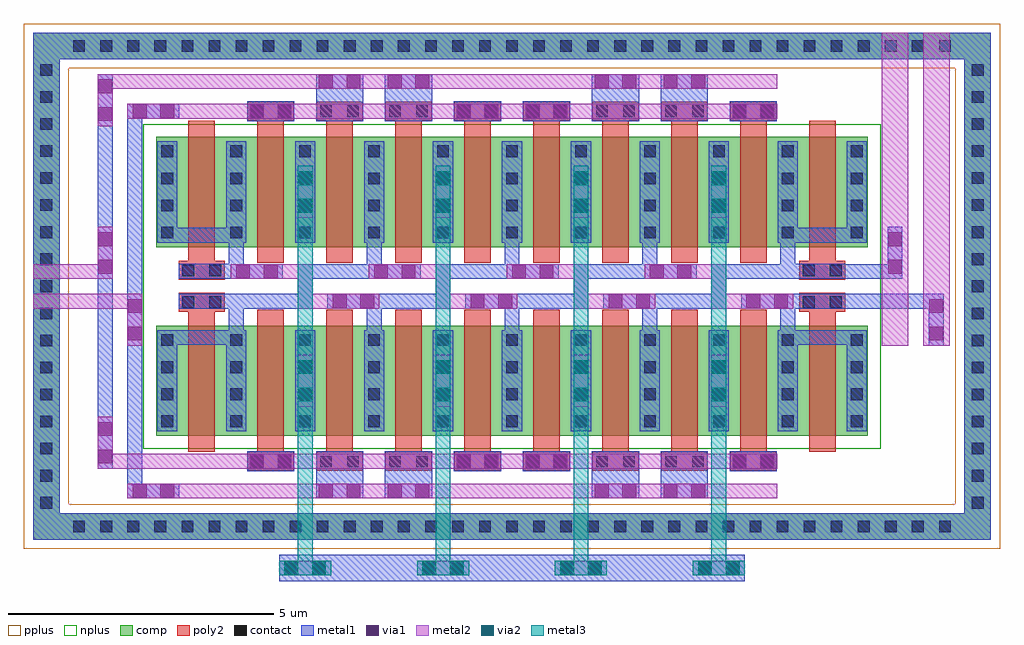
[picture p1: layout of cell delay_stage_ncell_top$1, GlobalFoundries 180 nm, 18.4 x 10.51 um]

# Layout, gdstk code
from math import pi, radians
import gdstk
lib = gdstk.Library(unit=1e-6, precision=5e-09)
def R(c, l, rs):  # rectangles x0, y0, x1, y1
    for r in rs: c.add(gdstk.rectangle(r[:2], r[2:], *l))
def A(c, l, x, y, w, h, nx, ny, dx, dy):  # array of equal rectangles
    R(c, l, [(x+i*dx, y+j*dy, x+i*dx+w, y+j*dy+h) for i in range(nx) for j in range(ny)])
comp = (22, 0)
poly2 = (30, 0)
pplus = (31, 0)
nplus = (32, 0)
contact = (33, 0)
metal1 = (34, 0)
via1 = (35, 0)
metal2 = (36, 0)
via2 = (38, 0)
metal3 = (42, 0)

m1_m3_1 = lib.new_cell('M1_M3$1')
R(m1_m3_1, via1, [(0.1,0.01,0.36,0.27), (0.1,0.01,0.36,0.27), (0.62,0.01,0.88,0.27), (0.62,0.01,0.88,0.27)])
R(m1_m3_1, via2, [(0.1,0.01,0.36,0.27), (0.1,0.01,0.36,0.27), (0.62,0.01,0.88,0.27), (0.62,0.01,0.88,0.27)])
m1_m3_1.add(gdstk.FlexPath([(0,0.14),(0.98,0.14)], 0.28, ends="flush", simple_path=True, layer=34, datatype=0))  # metal1
m1_m3_1.add(gdstk.FlexPath([(0,0.14),(0.98,0.14)], 0.28, ends="flush", simple_path=True, layer=34, datatype=0))  # metal1
m1_m3_1.add(gdstk.FlexPath([(0,0.14),(0.98,0.14)], 0.28, ends="flush", simple_path=True, layer=36, datatype=0))  # metal2
m1_m3_1.add(gdstk.FlexPath([(0,0.14),(0.98,0.14)], 0.28, ends="flush", simple_path=True, layer=42, datatype=0))  # metal3

m1_m2_2_1 = lib.new_cell('M1_M2$2$1')
R(m1_m2_2_1, via1, [(0.1,0.01,0.36,0.27), (0.62,0.01,0.88,0.27)])
m1_m2_2_1.add(gdstk.FlexPath([(0,0.14),(0.98,0.14)], 0.28, ends="flush", simple_path=True, layer=34, datatype=0))  # metal1
m1_m2_2_1.add(gdstk.FlexPath([(0,0.14),(0.98,0.14)], 0.28, ends="flush", simple_path=True, layer=36, datatype=0))  # metal2

delay_stage_ncell_1_1_2_ = lib.new_cell('delay_stage_ncell_1$1$2$1$1')
R(delay_stage_ncell_1_1_2_, comp, [(0,0.3,0.42,2.38), (0.42,0.3,1.3,2.38), (1.3,0.3,1.72,2.38)])
R(delay_stage_ncell_1_1_2_, poly2, [(0.61,0,1.11,2.68)])
A(delay_stage_ncell_1_1_2_, contact, 0.1, 0.465, 0.22, 0.22, 1, 4, 0, 0.51)
A(delay_stage_ncell_1_1_2_, contact, 1.4, 0.465, 0.22, 0.22, 1, 4, 0, 0.51)
R(delay_stage_ncell_1_1_2_, metal1, [(0.02,0.385,0.4,2.295), (1.32,0.385,1.7,2.295)])

delay_stage_ncell_4_1_1_ = lib.new_cell('delay_stage_ncell_4$1$1$1')
A(delay_stage_ncell_4_1_1_, poly2, 0.425, 2.675, 0.87, 0.36, 4, 1, 1.3, 0)
R(delay_stage_ncell_4_1_1_, contact, [(0.495,2.745,0.715,2.965), (1.005,2.745,1.225,2.965), (1.795,2.745,2.015,2.965), (2.305,2.745,2.525,2.965), (3.095,2.745,3.315,2.965), (3.605,2.745,3.825,2.965), (4.395,2.745,4.615,2.965), (4.905,2.745,5.125,2.965)])
A(delay_stage_ncell_4_1_1_, metal1, 0.415, 2.665, 0.89, 0.38, 4, 1, 1.3, 0)
delay_stage_ncell_4_1_1_.add(gdstk.Reference(delay_stage_ncell_1_1_2_, (0,-0.005)))
delay_stage_ncell_4_1_1_.add(gdstk.Reference(delay_stage_ncell_1_1_2_, (1.3,-0.005)))
delay_stage_ncell_4_1_1_.add(gdstk.Reference(delay_stage_ncell_1_1_2_, (2.6,-0.005)))
delay_stage_ncell_4_1_1_.add(gdstk.Reference(delay_stage_ncell_1_1_2_, (3.9,-0.005)))

delay_stage_ncell_4_2_1_ = lib.new_cell('delay_stage_ncell_4_2$1$1')
R(delay_stage_ncell_4_2_1_, metal1, [(1.715,0,2.605,0.51), (3.015,0,3.905,0.51), (1.715,7.49,2.605,8), (3.015,7.49,3.905,8)])
R(delay_stage_ncell_4_2_1_, via1, [(1.77,0.01,2.03,0.27), (2.29,0.01,2.55,0.27), (3.07,0.01,3.33,0.27), (3.59,0.01,3.85,0.27), (0.47,0.57,0.73,0.83), (0.99,0.57,1.25,0.83), (4.37,0.57,4.63,0.83), (4.89,0.57,5.15,0.83), (1.38,1.83,1.64,2.09), (3.98,1.83,4.24,2.09), (1.38,2.35,1.64,2.61), (3.98,2.35,4.24,2.61), (2.03,3.59,2.29,3.85), (2.55,3.59,2.81,3.85), (4.63,3.59,4.89,3.85), (5.15,3.59,5.41,3.85), (0.21,4.15,0.47,4.41), (0.73,4.15,0.99,4.41), (2.81,4.15,3.07,4.41), (3.33,4.15,3.59,4.41), (1.38,5.39,1.64,5.65), (3.98,5.39,4.24,5.65), (1.38,5.91,1.64,6.17), (3.98,5.91,4.24,6.17), (0.47,7.17,0.73,7.43), (0.99,7.17,1.25,7.43), (4.37,7.17,4.63,7.43), (4.89,7.17,5.15,7.43), (1.77,7.73,2.03,7.99), (2.29,7.73,2.55,7.99), (3.07,7.73,3.33,7.99), (3.59,7.73,3.85,7.99)])
R(delay_stage_ncell_4_2_1_, via2, [(1.38,1.83,1.64,2.09), (3.98,1.83,4.24,2.09), (1.38,2.35,1.64,2.61), (3.98,2.35,4.24,2.61), (1.38,5.39,1.64,5.65), (3.98,5.39,4.24,5.65), (1.38,5.91,1.64,6.17), (3.98,5.91,4.24,6.17)])
delay_stage_ncell_4_2_1_.add(gdstk.FlexPath([(2.81,4.825),(2.81,4.42)], 0.28, ends="flush", simple_path=True, layer=34, datatype=0))  # metal1
delay_stage_ncell_4_2_1_.add(gdstk.FlexPath([(2.81,3.175),(2.81,3.58)], 0.28, ends="flush", simple_path=True, layer=34, datatype=0))  # metal1
delay_stage_ncell_4_2_1_.add(gdstk.FlexPath([(0.21,3.175),(0.21,3.58)], 0.28, ends="flush", simple_path=True, layer=34, datatype=0))  # metal1
delay_stage_ncell_4_2_1_.add(gdstk.FlexPath([(0.21,4.825),(0.21,4.42)], 0.28, ends="flush", simple_path=True, layer=34, datatype=0))  # metal1
delay_stage_ncell_4_2_1_.add(gdstk.FlexPath([(2.91,4.28),(1.51,4.28),(1.51,3.72),(0.07,3.72)], 0.28, ends="flush", simple_path=True, layer=34, datatype=0))  # metal1
delay_stage_ncell_4_2_1_.add(gdstk.FlexPath([(1.09,4.28),(0.07,4.28)], 0.28, ends="flush", simple_path=True, layer=34, datatype=0))  # metal1
delay_stage_ncell_4_2_1_.add(gdstk.FlexPath([(5.41,3.175),(5.41,3.58)], 0.28, ends="flush", simple_path=True, layer=34, datatype=0))  # metal1
delay_stage_ncell_4_2_1_.add(gdstk.FlexPath([(5.55,4.28),(4.11,4.28),(4.11,3.72),(2.71,3.72)], 0.28, ends="flush", simple_path=True, layer=34, datatype=0))  # metal1
delay_stage_ncell_4_2_1_.add(gdstk.FlexPath([(3.69,4.28),(2.71,4.28)], 0.28, ends="flush", simple_path=True, layer=34, datatype=0))  # metal1
delay_stage_ncell_4_2_1_.add(gdstk.FlexPath([(5.41,4.825),(5.41,4.42)], 0.28, ends="flush", simple_path=True, layer=34, datatype=0))  # metal1
delay_stage_ncell_4_2_1_.add(gdstk.FlexPath([(2.81,3.175),(2.81,3.58)], 0.28, ends="flush", simple_path=True, layer=34, datatype=0))  # metal1
delay_stage_ncell_4_2_1_.add(gdstk.FlexPath([(5.55,3.72),(4.53,3.72)], 0.28, ends="flush", simple_path=True, layer=34, datatype=0))  # metal1
delay_stage_ncell_4_2_1_.add(gdstk.FlexPath([(2.81,4.825),(2.81,4.42)], 0.28, ends="flush", simple_path=True, layer=34, datatype=0))  # metal1
delay_stage_ncell_4_2_1_.add(gdstk.FlexPath([(2.91,3.72),(1.93,3.72)], 0.28, ends="flush", simple_path=True, layer=34, datatype=0))  # metal1
delay_stage_ncell_4_2_1_.add(gdstk.FlexPath([(5.41,7.3),(0.405,7.3)], 0.28, ends="flush", simple_path=True, layer=36, datatype=0))  # metal2
delay_stage_ncell_4_2_1_.add(gdstk.FlexPath([(5.41,7.86),(0.405,7.86)], 0.28, ends="flush", simple_path=True, layer=36, datatype=0))  # metal2
delay_stage_ncell_4_2_1_.add(gdstk.FlexPath([(5.41,0.7),(0.405,0.7)], 0.28, ends="flush", simple_path=True, layer=36, datatype=0))  # metal2
delay_stage_ncell_4_2_1_.add(gdstk.FlexPath([(5.41,0.14),(0.405,0.14)], 0.28, ends="flush", simple_path=True, layer=36, datatype=0))  # metal2
delay_stage_ncell_4_2_1_.add(gdstk.FlexPath([(4.11,5.29),(4.11,6.27)], 0.28, ends="flush", simple_path=True, layer=36, datatype=0))  # metal2
delay_stage_ncell_4_2_1_.add(gdstk.FlexPath([(1.51,5.29),(1.51,6.27)], 0.28, ends="flush", simple_path=True, layer=36, datatype=0))  # metal2
delay_stage_ncell_4_2_1_.add(gdstk.FlexPath([(4.11,1.73),(4.11,2.71)], 0.28, ends="flush", simple_path=True, layer=36, datatype=0))  # metal2
delay_stage_ncell_4_2_1_.add(gdstk.FlexPath([(1.51,1.73),(1.51,2.71)], 0.28, ends="flush", simple_path=True, layer=36, datatype=0))  # metal2
delay_stage_ncell_4_2_1_.add(gdstk.FlexPath([(2.91,3.72),(1.51,3.72),(1.51,4.28),(0.11,4.28)], 0.28, ends="flush", simple_path=True, layer=36, datatype=0))  # metal2
delay_stage_ncell_4_2_1_.add(gdstk.FlexPath([(5.51,3.72),(4.11,3.72),(4.11,4.28),(2.71,4.28)], 0.28, ends="flush", simple_path=True, layer=36, datatype=0))  # metal2
delay_stage_ncell_4_2_1_.add(gdstk.FlexPath([(4.11,5.29),(4.11,6.27)], 0.28, ends="flush", simple_path=True, layer=42, datatype=0))  # metal3
delay_stage_ncell_4_2_1_.add(gdstk.FlexPath([(1.51,5.29),(1.51,6.27)], 0.28, ends="flush", simple_path=True, layer=42, datatype=0))  # metal3
delay_stage_ncell_4_2_1_.add(gdstk.FlexPath([(4.11,1.73),(4.11,2.71)], 0.28, ends="flush", simple_path=True, layer=42, datatype=0))  # metal3
delay_stage_ncell_4_2_1_.add(gdstk.FlexPath([(1.51,1.73),(1.51,2.71)], 0.28, ends="flush", simple_path=True, layer=42, datatype=0))  # metal3
delay_stage_ncell_4_2_1_.add(gdstk.Reference(delay_stage_ncell_4_1_1_, (0,4.445)))
delay_stage_ncell_4_2_1_.add(gdstk.Reference(delay_stage_ncell_4_1_1_, (0,3.555), x_reflection=True))

delay_stage_ncell_1_1_1_ = lib.new_cell('delay_stage_ncell_1$1$1$1$1')
R(delay_stage_ncell_1_1_1_, comp, [(0,0.3,0.42,2.38), (0.42,0.3,1.3,2.38), (1.3,0.3,1.72,2.38)])
R(delay_stage_ncell_1_1_1_, poly2, [(0.61,0,1.11,2.68)])
A(delay_stage_ncell_1_1_1_, contact, 0.1, 0.465, 0.22, 0.22, 1, 4, 0, 0.51)
A(delay_stage_ncell_1_1_1_, contact, 1.4, 0.465, 0.22, 0.22, 1, 4, 0, 0.51)
R(delay_stage_ncell_1_1_1_, metal1, [(0.02,0.385,0.4,2.295), (1.32,0.385,1.7,2.295)])

delay_stage_ncell_1_2_1_ = lib.new_cell('delay_stage_ncell_1_2$1$1')
R(delay_stage_ncell_1_2_1_, poly2, [(0.425,3.01,1.295,3.37), (0.425,3.61,1.295,3.97)])
R(delay_stage_ncell_1_2_1_, contact, [(0.495,3.08,0.715,3.3), (1.005,3.08,1.225,3.3), (0.495,3.68,0.715,3.9), (1.005,3.68,1.225,3.9)])
R(delay_stage_ncell_1_2_1_, metal1, [(0.21,3.065,1.295,3.07), (0.21,3.91,1.295,3.915)])
delay_stage_ncell_1_2_1_.add(gdstk.FlexPath([(0.4,2.525),(1.32,2.525)], 0.28, ends="flush", simple_path=True, layer=34, datatype=0))  # metal1
delay_stage_ncell_1_2_1_.add(gdstk.FlexPath([(1.295,3.21),(0.21,3.21)], 0.28, ends="flush", simple_path=True, layer=34, datatype=0))  # metal1
delay_stage_ncell_1_2_1_.add(gdstk.FlexPath([(0.4,4.455),(1.32,4.455)], 0.28, ends="flush", simple_path=True, layer=34, datatype=0))  # metal1
delay_stage_ncell_1_2_1_.add(gdstk.FlexPath([(1.295,3.77),(0.21,3.77)], 0.28, ends="flush", simple_path=True, layer=34, datatype=0))  # metal1
delay_stage_ncell_1_2_1_.add(gdstk.Reference(delay_stage_ncell_1_1_1_, (0,3.93)))
delay_stage_ncell_1_2_1_.add(gdstk.Reference(delay_stage_ncell_1_1_1_, (0,3.05), x_reflection=True))

delay_stage_ncell_top_1 = lib.new_cell('delay_stage_ncell_top$1')
R(delay_stage_ncell_top_1, nplus, [(2.25,2.5,16.15,8.62)])
A(delay_stage_ncell_top_1, contact, 0.93, 0.92, 0.22, 0.22, 33, 2, 0.51, 9.06)
A(delay_stage_ncell_top_1, contact, 0.31, 1.37, 0.22, 0.22, 1, 17, 0, 0.51)
A(delay_stage_ncell_top_1, contact, 17.87, 1.37, 0.22, 0.22, 1, 17, 0, 0.51)
R(delay_stage_ncell_top_1, via1, [(2.05,1.57,2.31,1.83), (2.05,1.57,2.31,1.83), (2.57,1.57,2.83,1.83), (2.57,1.57,2.83,1.83), (1.4,2.22,1.66,2.48), (1.4,2.22,1.66,2.48), (1.4,2.74,1.66,3), (1.4,2.74,1.66,3), (17.07,4.54,17.33,4.8), (17.07,4.54,17.33,4.8), (17.07,5.06,17.33,5.32), (17.07,5.06,17.33,5.32), (16.29,5.8,16.55,6.06), (16.29,5.8,16.55,6.06), (16.29,6.32,16.55,6.58), (16.29,6.32,16.55,6.58), (1.4,8.68,1.66,8.94), (1.4,8.68,1.66,8.94), (2.05,8.73,2.31,8.99), (2.05,8.73,2.31,8.99), (2.57,8.73,2.83,8.99), (2.57,8.73,2.83,8.99), (1.4,9.2,1.66,9.46), (1.4,9.2,1.66,9.46)])
delay_stage_ncell_top_1.add(gdstk.FlexPath([(14.54,5.28),(17.06,5.28)], 0.28, ends="flush", simple_path=True, layer=34, datatype=0))  # metal1
delay_stage_ncell_top_1.add(gdstk.FlexPath([(14.54,5.84),(16.28,5.84)], 0.28, ends="flush", simple_path=True, layer=34, datatype=0))  # metal1
delay_stage_ncell_top_1.add(gdstk.FlexPath([(17.2,4.44),(17.2,5.42)], 0.28, ends="flush", simple_path=True, layer=34, datatype=0))  # metal1
delay_stage_ncell_top_1.add(gdstk.FlexPath([(17.2,4.44),(17.2,5.42)], 0.28, ends="flush", simple_path=True, layer=34, datatype=0))  # metal1
delay_stage_ncell_top_1.add(gdstk.FlexPath([(16.42,5.7),(16.42,6.68)], 0.28, ends="flush", simple_path=True, layer=34, datatype=0))  # metal1
delay_stage_ncell_top_1.add(gdstk.FlexPath([(16.42,5.7),(16.42,6.68)], 0.28, ends="flush", simple_path=True, layer=34, datatype=0))  # metal1
delay_stage_ncell_top_1.add(gdstk.FlexPath([(2.09,1.84),(2.09,9)], 0.28, ends="flush", simple_path=True, layer=34, datatype=0))  # metal1
delay_stage_ncell_top_1.add(gdstk.FlexPath([(1.53,8.58),(1.53,9.56)], 0.28, ends="flush", simple_path=True, layer=34, datatype=0))  # metal1
delay_stage_ncell_top_1.add(gdstk.FlexPath([(1.95,8.86),(2.93,8.86)], 0.28, ends="flush", simple_path=True, layer=34, datatype=0))  # metal1
delay_stage_ncell_top_1.add(gdstk.FlexPath([(1.95,1.7),(2.93,1.7)], 0.28, ends="flush", simple_path=True, layer=34, datatype=0))  # metal1
delay_stage_ncell_top_1.add(gdstk.FlexPath([(1.53,3.1),(1.53,2.12)], 0.28, ends="flush", simple_path=True, layer=34, datatype=0))  # metal1
delay_stage_ncell_top_1.add(gdstk.FlexPath([(17.98,10.34),(17.98,1.03),(0.42,1.03),(0.42,10.09),(18.23,10.09)], 0.5, ends="flush", simple_path=True, layer=34, datatype=0))  # metal1
delay_stage_ncell_top_1.add(gdstk.FlexPath([(4.81,0.25),(13.59,0.25)], 0.5, ends="flush", simple_path=True, layer=34, datatype=0))  # metal1
delay_stage_ncell_top_1.add(gdstk.FlexPath([(1.53,2.12),(1.53,9.56)], 0.28, ends="flush", simple_path=True, layer=34, datatype=0))  # metal1
delay_stage_ncell_top_1.add(gdstk.FlexPath([(17.98,10.34),(17.98,1.03),(0.42,1.03),(0.42,10.09),(18.23,10.09)], 0.5, ends="flush", simple_path=True, layer=22, datatype=0))  # comp
delay_stage_ncell_top_1.add(gdstk.FlexPath([(16.42,4.44),(16.42,10.34)], 0.5, ends="flush", simple_path=True, layer=36, datatype=0))  # metal2
delay_stage_ncell_top_1.add(gdstk.FlexPath([(17.2,4.44),(17.2,10.34)], 0.5, ends="flush", simple_path=True, layer=36, datatype=0))  # metal2
delay_stage_ncell_top_1.add(gdstk.FlexPath([(4.195,2.26),(1.39,2.26)], 0.28, ends="flush", simple_path=True, layer=36, datatype=0))  # metal2
delay_stage_ncell_top_1.add(gdstk.FlexPath([(4.195,1.7),(2.93,1.7)], 0.28, ends="flush", simple_path=True, layer=36, datatype=0))  # metal2
delay_stage_ncell_top_1.add(gdstk.FlexPath([(4.195,8.86),(2.23,8.86)], 0.28, ends="flush", simple_path=True, layer=36, datatype=0))  # metal2
delay_stage_ncell_top_1.add(gdstk.FlexPath([(4.195,9.42),(1.67,9.42)], 0.28, ends="flush", simple_path=True, layer=36, datatype=0))  # metal2
delay_stage_ncell_top_1.add(gdstk.FlexPath([(1.53,8.58),(1.53,9.56)], 0.28, ends="flush", simple_path=True, layer=36, datatype=0))  # metal2
delay_stage_ncell_top_1.add(gdstk.FlexPath([(1.95,8.86),(2.93,8.86)], 0.28, ends="flush", simple_path=True, layer=36, datatype=0))  # metal2
delay_stage_ncell_top_1.add(gdstk.FlexPath([(1.95,1.7),(2.93,1.7)], 0.28, ends="flush", simple_path=True, layer=36, datatype=0))  # metal2
delay_stage_ncell_top_1.add(gdstk.FlexPath([(1.53,3.1),(1.53,2.12)], 0.28, ends="flush", simple_path=True, layer=36, datatype=0))  # metal2
delay_stage_ncell_top_1.add(gdstk.FlexPath([(1.39,5.84),(0.17,5.84)], 0.28, ends="flush", simple_path=True, layer=36, datatype=0))  # metal2
delay_stage_ncell_top_1.add(gdstk.FlexPath([(1.95,5.28),(0.17,5.28)], 0.28, ends="flush", simple_path=True, layer=36, datatype=0))  # metal2
delay_stage_ncell_top_1.add(gdstk.FlexPath([(5.3,6.85),(5.3,0.39)], 0.28, ends="flush", simple_path=True, layer=42, datatype=0))  # metal3
delay_stage_ncell_top_1.add(gdstk.FlexPath([(7.9,6.85),(7.9,0.39)], 0.28, ends="flush", simple_path=True, layer=42, datatype=0))  # metal3
delay_stage_ncell_top_1.add(gdstk.FlexPath([(10.5,6.85),(10.5,0.39)], 0.28, ends="flush", simple_path=True, layer=42, datatype=0))  # metal3
delay_stage_ncell_top_1.add(gdstk.FlexPath([(13.1,6.85),(13.1,0.39)], 0.28, ends="flush", simple_path=True, layer=42, datatype=0))  # metal3
delay_stage_ncell_top_1.add(gdstk.FlexPath([(17.98,10.51),(17.98,1.03),(0.42,1.03),(0.42,10.09),(18.4,10.09)], 0.84, ends="flush", simple_path=True, layer=31, datatype=0))  # pplus
delay_stage_ncell_top_1.add(gdstk.Reference(m1_m3_1, (4.81,0.11)))
delay_stage_ncell_top_1.add(gdstk.Reference(m1_m3_1, (7.41,0.11)))
delay_stage_ncell_top_1.add(gdstk.Reference(m1_m3_1, (10.01,0.11)))
delay_stage_ncell_top_1.add(gdstk.Reference(m1_m3_1, (12.61,0.11)))
delay_stage_ncell_top_1.add(gdstk.Reference(m1_m2_2_1, (1.39,6.68), rotation=3*pi/2))
delay_stage_ncell_top_1.add(gdstk.Reference(m1_m2_2_1, (1.95,5.42), rotation=3*pi/2))
delay_stage_ncell_top_1.add(gdstk.Reference(delay_stage_ncell_4_2_1_, (3.79,1.56)))
delay_stage_ncell_top_1.add(gdstk.Reference(delay_stage_ncell_4_2_1_, (14.61,9.56), rotation=pi))
delay_stage_ncell_top_1.add(gdstk.Reference(delay_stage_ncell_1_2_1_, (14.19,2.07)))
delay_stage_ncell_top_1.add(gdstk.Reference(delay_stage_ncell_1_2_1_, (4.21,2.07), rotation=pi, x_reflection=True))

lib.write_gds('delay_stage_ncell_top_1.gds')
